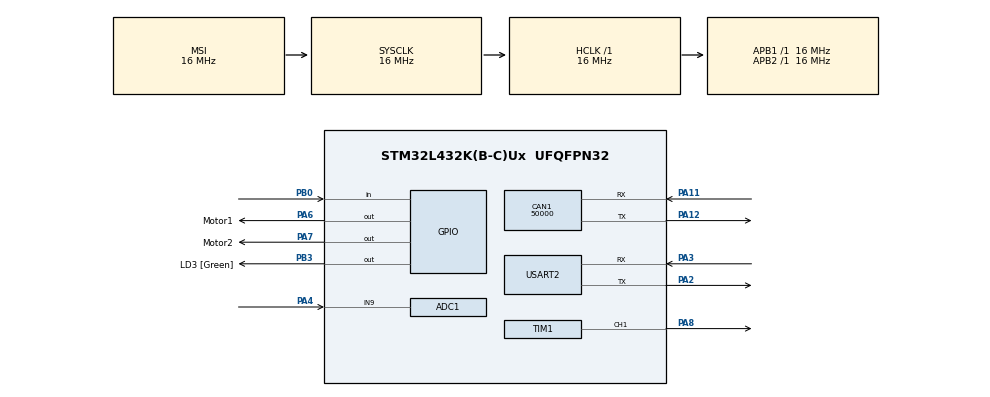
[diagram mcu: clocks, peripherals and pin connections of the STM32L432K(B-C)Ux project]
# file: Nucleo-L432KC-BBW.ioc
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ADC1.Channel-3\#ChannelRegularConversion=ADC_CHANNEL_9
ADC1.ClockPrescaler=ADC_CLOCK_ASYNC_DIV64
ADC1.ContinuousConvMode=ENABLE
ADC1.NbrOfConversion=1
ADC1.NbrOfConversionFlag=1
ADC1.OffsetNumber-3\#ChannelRegularConversion=ADC_OFFSET_NONE
ADC1.Rank-3\#ChannelRegularConversion=1
ADC1.SamplingTime-3\#ChannelRegularConversion=ADC_SAMPLETIME_12CYCLES_5
ADC1.master=1
CAN1.ABOM=ENABLE
CAN1.BS1=CAN_BS1_11TQ
CAN1.BS2=CAN_BS2_8TQ
CAN1.CalculateBaudRate=50000
CAN1.CalculateTimeBit=20000
CAN1.CalculateTimeQuantum=1000.0
Mcu.Family=STM32L4
Mcu.Name=STM32L432K(B-C)Ux
Mcu.Package=UFQFPN32
NVIC.ADC1_IRQn=true\:0\:0\:false\:false\:true\:true\:true\:true
NVIC.CAN1_RX0_IRQn=true\:0\:0\:false\:false\:true\:true\:true\:true
NVIC.CAN1_RX1_IRQn=true\:0\:0\:false\:false\:true\:true\:true\:true
NVIC.PriorityGroup=NVIC_PRIORITYGROUP_4
NVIC.TIM1_UP_TIM16_IRQn=true\:0\:0\:false\:false\:true\:true\:true\:true
NVIC.TIM6_DAC_IRQn=true\:0\:0\:false\:false\:true\:true\:true\:true
NVIC.TIM7_IRQn=true\:0\:0\:false\:false\:true\:true\:true\:true
PA0.GPIO_Label=MCO [High speed clock in]
PA0.Mode=HSE-External-Clock-Source-for-LittleOrca
PA0.Signal=RCC_CK_IN
PA11.Mode=CAN_Activate
PA11.Signal=CAN1_RX
PA12.Mode=CAN_Activate
PA12.Signal=CAN1_TX
PA13\ (JTMS-SWDIO).GPIO_Label=SWDIO
PA13\ (JTMS-SWDIO).Mode=Serial_Wire
PA13\ (JTMS-SWDIO).Signal=SYS_JTMS-SWDIO
PA14\ (JTCK-SWCLK).GPIO_Label=SWCLK
PA14\ (JTCK-SWCLK).Mode=Serial_Wire
PA14\ (JTCK-SWCLK).Signal=SYS_JTCK-SWCLK
PA2.Mode=Asynchronous
PA2.Signal=USART2_TX
PA3.Mode=Asynchronous
PA3.Signal=USART2_RX
PA4.Signal=SharedAnalog_PA4
PA6.GPIO_Label=Motor1
PA6.Signal=GPIO_Output
PA7.GPIO_Label=Motor2
PA7.Signal=GPIO_Output
PA8.Signal=S_TIM1_CH1
PB0.GPIO_PuPd=GPIO_PULLDOWN
PB0.Signal=GPIO_Input
PB3\ (JTDO-TRACESWO).GPIO_Label=LD3 [Green]
PB3\ (JTDO-TRACESWO).Signal=GPIO_Output
PC14-OSC32_IN\ (PC14).Mode=LSE-External-Oscillator
PC14-OSC32_IN\ (PC14).Signal=RCC_OSC32_IN
PC15-OSC32_OUT\ (PC15).Mode=LSE-External-Oscillator
PC15-OSC32_OUT\ (PC15).Signal=RCC_OSC32_OUT
ProjectManager.HeapSize=0x200
ProjectManager.StackSize=0x400
ProjectManager.TargetToolchain=STM32CubeIDE
RCC.ADCFreq_Value=64000000
RCC.AHBFreq_Value=16000000
RCC.APB1Freq_Value=16000000
RCC.APB1TimFreq_Value=16000000
RCC.APB2Freq_Value=16000000
RCC.APB2TimFreq_Value=16000000
RCC.CortexFreq_Value=16000000
RCC.HCLKFreq_Value=16000000
RCC.HSE_VALUE=8000000
RCC.HSI16_VALUE=16000000
RCC.HSI48_VALUE=48000000
RCC.HSI_VALUE=16000000
RCC.MSIClockRange=RCC_MSIRANGE_8
RCC.MSI_VALUE=16000000
RCC.PLLMUL=RCC_PLLMUL_4
RCC.SYSCLKFreq_VALUE=16000000
RCC.USBFreq_Value=64000000
RCC.VCOOutputFreq_Value=128000000
SH.S_TIM1_CH1.0=TIM1_CH1,PWM Generation1 CH1
SH.SharedAnalog_PA4.0=GPIO_Analog
SH.SharedAnalog_PA4.1=ADC1_IN9,IN9-Single-Ended
TIM1.Channel-PWM\ Generation1\ CH1=TIM_CHANNEL_1
TIM1.Period=999
TIM1.Prescaler=15
TIM16.Period=20000
TIM16.Prescaler=160-1
TIM6.Period=10000
TIM6.Prescaler=16-1
TIM7.Period=25000
TIM7.Prescaler=64-1
USART2.VirtualMode-Asynchronous=VM_ASYNC
VP_TIM16_VS_ClockSourceINT.Mode=Enable_Timer
VP_TIM1_VS_ClockSourceINT.Mode=Internal
VP_TIM6_VS_ClockSourceINT.Mode=Enable_Timer
VP_TIM7_VS_ClockSourceINT.Mode=Enable_Timer
board=NUCLEO-L432KC

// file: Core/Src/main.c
/* USER CODE BEGIN Header */
/**
  ******************************************************************************
  * @file           : main.c
  * @brief          : Main program body
  ******************************************************************************
  * @attention
  *
  * Copyright (c) 2022 STMicroelectronics.
  * All rights reserved.
  *
  * This software is licensed under terms that can be found in the LICENSE file
  * in the root directory of this software component.
  * If no LICENSE file comes with this software, it is provided AS-IS.
  *
  ******************************************************************************
  */
/* USER CODE END Header */
#include "main.h"

/* USER CODE BEGIN Includes */

#include "stdio.h"
#include <stdbool.h>

/* USER CODE END Includes */

/* USER CODE BEGIN PM */
void TightenBrake(int dutyCycle);
void LoosenBrake(int dutyCycle);
void StopBrake();
/* USER CODE END PM */

ADC_HandleTypeDef hadc1;

CAN_HandleTypeDef hcan1;

TIM_HandleTypeDef htim1;
TIM_HandleTypeDef htim6;
TIM_HandleTypeDef htim7;
TIM_HandleTypeDef htim16;

UART_HandleTypeDef huart2;

void SystemClock_Config(void);
static void MX_GPIO_Init(void);
static void MX_USART2_UART_Init(void);
static void MX_CAN1_Init(void);
static void MX_TIM6_Init(void);
static void MX_TIM1_Init(void);
static void MX_ADC1_Init(void);
static void MX_TIM7_Init(void);
static void MX_TIM16_Init(void);

/* USER CODE BEGIN 0 */

CAN_TxHeaderTypeDef TxHeader;
CAN_RxHeaderTypeDef RxHeader;

uint32_t TxMailbox;

uint8_t CAN_TxData[4];
uint8_t CAN_RxData[4];

// important: don't convert to int or it will get reset to 0 for unknown reason
double first_met = 1.0;

double pressure_desired = 0.0;

float linearVoltage = 0.0f;
float linearAvg = 0.0f;

// uart print to serial terminal for debugging purpose
int _write(int file, char *ptr, int len){
	HAL_UART_Transmit(&huart2, (uint8_t*)ptr, len, HAL_MAX_DELAY);
	return len;
}

void HAL_CAN_RxFifo0MsgPendingCallback(CAN_HandleTypeDef *hcan1)
{
  if (HAL_CAN_GetRxMessage(hcan1, CAN_RX_FIFO0, &RxHeader, CAN_RxData) != HAL_OK)
  {
    Error_Handler();
  }

  // 0x100 is the can device id of the main controller
  if ((RxHeader.StdId == 0x100))
  {
	  // first compute the brake percentage then the pressure needed
	  pressure_desired = CAN_RxData[1];
  }
}

void HAL_TIM_PeriodElapsedCallback(TIM_HandleTypeDef *htim) {
  // 5Hz = 200ms send out measured breaking pressure to can bus
  /*if (htim == &htim16){
	  CAN_TxData[0] = (int)(pressure_measured_avg);
	  HAL_CAN_AddTxMessage(&hcan1, &TxHeader, CAN_TxData, &TxMailbox);

	  printf("brake pressure measured: %.2f PSI \r\n", pressure_measured_avg);
	  printf("brake pressure desired: %.2f PSI \r\n", pressure_desired);
  }*/
}

double sum = 0.0;
const int length = 40;
double buffer[40] = {0};
int index = 0;
bool filled = false;

void HAL_ADC_ConvCpltCallback(ADC_HandleTypeDef* hadc)
{
	linearVoltage = HAL_ADC_GetValue(&hadc1) / 4095.0 * 3.3;

	double newSample = linearVoltage;

	// Remove oldest value
	sum -= buffer[index];
	// Add new value
	buffer[index] = newSample;
	sum += newSample;

	// Advance index
	index = (index + 1) % length;

	// Compute average
	int divisor = filled ? length : index;
	if (index == 0) filled = true;

	linearAvg = sum / (double)divisor;
}

int testPin = 1;
/* USER CODE END 0 */

int main(void)
{

  /* MCU Configuration--------------------------------------------------------*/

  /* Reset of all peripherals, Initializes the Flash interface and the Systick. */
  HAL_Init();

  /* Configure the system clock */
  SystemClock_Config();

  /* Initialize all configured peripherals */
  MX_GPIO_Init();
  MX_USART2_UART_Init();
  MX_CAN1_Init();
  MX_TIM6_Init();
  MX_TIM1_Init();
  MX_ADC1_Init();
  MX_TIM7_Init();
  MX_TIM16_Init();
  /* USER CODE BEGIN 2 */

  HAL_TIM_PWM_Start(&htim1, TIM_CHANNEL_1);
  HAL_Delay(500);

  HAL_ADCEx_Calibration_Start(&hadc1, ADC_SINGLE_ENDED);
  HAL_ADC_Start_IT(&hadc1);
  HAL_Delay(500);
  // IMPORTANT: DO NOT MOVE THIS COUNTER TO GLOBAL VARIABLE
  // OR IT WILL BE RESET EVERY FEW LOOPS FOR NO REASON

  float linearMax = 2.61f;
  float linearMin = .68f;

  /* USER CODE END 2 */

  /* Infinite loop */
  /* USER CODE BEGIN WHILE */
  while (1)
  {
	  /*HAL_ADC_Start(&hadc1);
	  HAL_ADC_PollForConversion(&hadc1, HAL_MAX_DELAY);
	  // reference adc reading [0-4095], reference voltage [0-3.3v]
	  linearVoltage = HAL_ADC_GetValue(&hadc1) / 4095.0 * 3.3;
	  HAL_ADC_Stop(&hadc1);*/

	  //read test pin for brake
	  if (HAL_GPIO_ReadPin(GPIOB, GPIO_PIN_0) == GPIO_PIN_SET)
	  {
	      // Button is pressed
		  testPin = 1;
	  }
	  else
	  {
		  // Button is not pressed
	      testPin = 0;
	   }

	  //run motors if test pin is high
	  //duty cycle (max is 1000) @ 2kHz
	  int dutyCycle = 1000;

		  if (testPin == 1 && linearAvg > linearMin)
		  {
		  	  //Tighten brake
		  	  TightenBrake(dutyCycle);
		  }
		  else if (testPin == 0 && linearAvg < linearMax)
		  {
			  LoosenBrake(dutyCycle);
		  }
		  else
		  {
			  StopBrake();
		  }

	  //calculate pressure
		  //pressureValue = (pressureAvg - pressureMin) / (pressureMax - pressureMin) * pressureAbsMax;
  }
    /* USER CODE END WHILE */

}

void SystemClock_Config(void)
{
  RCC_OscInitTypeDef RCC_OscInitStruct = {0};
  RCC_ClkInitTypeDef RCC_ClkInitStruct = {0};

  /** Configure the main internal regulator output voltage
  */
  if (HAL_PWREx_ControlVoltageScaling(PWR_REGULATOR_VOLTAGE_SCALE1) != HAL_OK)
  {
    Error_Handler();
  }

  /** Configure LSE Drive Capability
  */
  HAL_PWR_EnableBkUpAccess();
  __HAL_RCC_LSEDRIVE_CONFIG(RCC_LSEDRIVE_LOW);

  /** Initializes the RCC Oscillators according to the specified parameters
  * in the RCC_OscInitTypeDef structure.
  */
  RCC_OscInitStruct.OscillatorType = RCC_OSCILLATORTYPE_LSE|RCC_OSCILLATORTYPE_MSI;
  RCC_OscInitStruct.LSEState = RCC_LSE_ON;
  RCC_OscInitStruct.MSIState = RCC_MSI_ON;
  RCC_OscInitStruct.MSICalibrationValue = 0;
  RCC_OscInitStruct.MSIClockRange = RCC_MSIRANGE_8;
  RCC_OscInitStruct.PLL.PLLState = RCC_PLL_NONE;
  if (HAL_RCC_OscConfig(&RCC_OscInitStruct) != HAL_OK)
  {
    Error_Handler();
  }

  /** Initializes the CPU, AHB and APB buses clocks
  */
  RCC_ClkInitStruct.ClockType = RCC_CLOCKTYPE_HCLK|RCC_CLOCKTYPE_SYSCLK
                              |RCC_CLOCKTYPE_PCLK1|RCC_CLOCKTYPE_PCLK2;
  RCC_ClkInitStruct.SYSCLKSource = RCC_SYSCLKSOURCE_MSI;
  RCC_ClkInitStruct.AHBCLKDivider = RCC_SYSCLK_DIV1;
  RCC_ClkInitStruct.APB1CLKDivider = RCC_HCLK_DIV1;
  RCC_ClkInitStruct.APB2CLKDivider = RCC_HCLK_DIV1;

  if (HAL_RCC_ClockConfig(&RCC_ClkInitStruct, FLASH_LATENCY_0) != HAL_OK)
  {
    Error_Handler();
  }

  /** Enable MSI Auto calibration
  */
  HAL_RCCEx_EnableMSIPLLMode();
}

static void MX_ADC1_Init(void)
{

  ADC_ChannelConfTypeDef sConfig = {0};

  /** Common config
  */
  hadc1.Instance = ADC1;
  hadc1.Init.ClockPrescaler = ADC_CLOCK_ASYNC_DIV64;
  hadc1.Init.Resolution = ADC_RESOLUTION_12B;
  hadc1.Init.DataAlign = ADC_DATAALIGN_RIGHT;
  hadc1.Init.ScanConvMode = ADC_SCAN_DISABLE;
  hadc1.Init.EOCSelection = ADC_EOC_SINGLE_CONV;
  hadc1.Init.LowPowerAutoWait = DISABLE;
  hadc1.Init.ContinuousConvMode = ENABLE;
  hadc1.Init.NbrOfConversion = 1;
  hadc1.Init.DiscontinuousConvMode = DISABLE;
  hadc1.Init.ExternalTrigConv = ADC_SOFTWARE_START;
  hadc1.Init.ExternalTrigConvEdge = ADC_EXTERNALTRIGCONVEDGE_NONE;
  hadc1.Init.DMAContinuousRequests = DISABLE;
  hadc1.Init.Overrun = ADC_OVR_DATA_PRESERVED;
  hadc1.Init.OversamplingMode = DISABLE;
  if (HAL_ADC_Init(&hadc1) != HAL_OK)
  {
    Error_Handler();
  }

  /** Configure Regular Channel
  */
  sConfig.Channel = ADC_CHANNEL_9;
  sConfig.Rank = ADC_REGULAR_RANK_1;
  sConfig.SamplingTime = ADC_SAMPLETIME_12CYCLES_5;
  sConfig.SingleDiff = ADC_SINGLE_ENDED;
  sConfig.OffsetNumber = ADC_OFFSET_NONE;
  sConfig.Offset = 0;
  if (HAL_ADC_ConfigChannel(&hadc1, &sConfig) != HAL_OK)
  {
    Error_Handler();
  }
  /* USER CODE BEGIN ADC1_Init 2 */
//  HAL_ADC_Start(&hadc1);
  /* USER CODE END ADC1_Init 2 */

}

static void MX_CAN1_Init(void)
{

  /* USER CODE BEGIN CAN1_Init 0 */
  TxHeader.DLC = 4;
  TxHeader.ExtId = 0;
  TxHeader.IDE = CAN_ID_STD;
  TxHeader.RTR = CAN_RTR_DATA;
  TxHeader.StdId = 0x102;
  TxHeader.TransmitGlobalTime = DISABLE;

  /* USER CODE END CAN1_Init 0 */

  hcan1.Instance = CAN1;
  hcan1.Init.Prescaler = 16;
  hcan1.Init.Mode = CAN_MODE_NORMAL;
  hcan1.Init.SyncJumpWidth = CAN_SJW_1TQ;
  hcan1.Init.TimeSeg1 = CAN_BS1_11TQ;
  hcan1.Init.TimeSeg2 = CAN_BS2_8TQ;
  hcan1.Init.TimeTriggeredMode = DISABLE;
  hcan1.Init.AutoBusOff = ENABLE;
  hcan1.Init.AutoWakeUp = DISABLE;
  hcan1.Init.AutoRetransmission = DISABLE;
  hcan1.Init.ReceiveFifoLocked = DISABLE;
  hcan1.Init.TransmitFifoPriority = DISABLE;
  if (HAL_CAN_Init(&hcan1) != HAL_OK)
  {
    Error_Handler();
  }
  /* USER CODE BEGIN CAN1_Init 2 */

  CAN_FilterTypeDef canfilterconfig;

  canfilterconfig.FilterActivation = CAN_FILTER_ENABLE;
  canfilterconfig.FilterBank = 10;  // which filter bank to use from the assigned ones
  canfilterconfig.FilterFIFOAssignment = CAN_FILTER_FIFO0;
  canfilterconfig.FilterIdHigh = 0;
  canfilterconfig.FilterIdLow = 0x0000;
  canfilterconfig.FilterMaskIdHigh = 0;
  canfilterconfig.FilterMaskIdLow = 0x0000;
  canfilterconfig.FilterMode = CAN_FILTERMODE_IDMASK;
  canfilterconfig.FilterScale = CAN_FILTERSCALE_32BIT;
  canfilterconfig.SlaveStartFilterBank = 20;  // how many filters to assign to the CAN1 (master can)

  HAL_CAN_ConfigFilter(&hcan1, &canfilterconfig);
  HAL_CAN_Start(&hcan1);
  HAL_CAN_ActivateNotification(&hcan1, CAN_IT_RX_FIFO0_MSG_PENDING);

  /* USER CODE END CAN1_Init 2 */

}

static void MX_TIM1_Init(void)
{

  TIM_ClockConfigTypeDef sClockSourceConfig = {0};
  TIM_MasterConfigTypeDef sMasterConfig = {0};
  TIM_OC_InitTypeDef sConfigOC = {0};
  TIM_BreakDeadTimeConfigTypeDef sBreakDeadTimeConfig = {0};

  htim1.Instance = TIM1;
  htim1.Init.Prescaler = 15;
  htim1.Init.CounterMode = TIM_COUNTERMODE_UP;
  htim1.Init.Period = 999;
  htim1.Init.ClockDivision = TIM_CLOCKDIVISION_DIV1;
  htim1.Init.RepetitionCounter = 0;
  htim1.Init.AutoReloadPreload = TIM_AUTORELOAD_PRELOAD_DISABLE;
  if (HAL_TIM_Base_Init(&htim1) != HAL_OK)
  {
    Error_Handler();
  }
  sClockSourceConfig.ClockSource = TIM_CLOCKSOURCE_INTERNAL;
  if (HAL_TIM_ConfigClockSource(&htim1, &sClockSourceConfig) != HAL_OK)
  {
    Error_Handler();
  }
  if (HAL_TIM_PWM_Init(&htim1) != HAL_OK)
  {
    Error_Handler();
  }
  sMasterConfig.MasterOutputTrigger = TIM_TRGO_RESET;
  sMasterConfig.MasterOutputTrigger2 = TIM_TRGO2_RESET;
  sMasterConfig.MasterSlaveMode = TIM_MASTERSLAVEMODE_DISABLE;
  if (HAL_TIMEx_MasterConfigSynchronization(&htim1, &sMasterConfig) != HAL_OK)
  {
    Error_Handler();
  }
  sConfigOC.OCMode = TIM_OCMODE_PWM1;
  sConfigOC.Pulse = 0;
  sConfigOC.OCPolarity = TIM_OCPOLARITY_HIGH;
  sConfigOC.OCNPolarity = TIM_OCNPOLARITY_HIGH;
  sConfigOC.OCFastMode = TIM_OCFAST_DISABLE;
  sConfigOC.OCIdleState = TIM_OCIDLESTATE_RESET;
  sConfigOC.OCNIdleState = TIM_OCNIDLESTATE_RESET;
  if (HAL_TIM_PWM_ConfigChannel(&htim1, &sConfigOC, TIM_CHANNEL_1) != HAL_OK)
  {
    Error_Handler();
  }
  sBreakDeadTimeConfig.OffStateRunMode = TIM_OSSR_DISABLE;
  sBreakDeadTimeConfig.OffStateIDLEMode = TIM_OSSI_DISABLE;
  sBreakDeadTimeConfig.LockLevel = TIM_LOCKLEVEL_OFF;
  sBreakDeadTimeConfig.DeadTime = 0;
  sBreakDeadTimeConfig.BreakState = TIM_BREAK_DISABLE;
  sBreakDeadTimeConfig.BreakPolarity = TIM_BREAKPOLARITY_HIGH;
  sBreakDeadTimeConfig.BreakFilter = 0;
  sBreakDeadTimeConfig.Break2State = TIM_BREAK2_DISABLE;
  sBreakDeadTimeConfig.Break2Polarity = TIM_BREAK2POLARITY_HIGH;
  sBreakDeadTimeConfig.Break2Filter = 0;
  sBreakDeadTimeConfig.AutomaticOutput = TIM_AUTOMATICOUTPUT_DISABLE;
  if (HAL_TIMEx_ConfigBreakDeadTime(&htim1, &sBreakDeadTimeConfig) != HAL_OK)
  {
    Error_Handler();
  }
  /* USER CODE BEGIN TIM1_Init 2 */
  HAL_TIM_PWM_Start(&htim1, TIM_CHANNEL_1);

  /* USER CODE END TIM1_Init 2 */
  HAL_TIM_MspPostInit(&htim1);

}

static void MX_TIM6_Init(void)
{

  TIM_MasterConfigTypeDef sMasterConfig = {0};

  htim6.Instance = TIM6;
  htim6.Init.Prescaler = 16-1;
  htim6.Init.CounterMode = TIM_COUNTERMODE_UP;
  htim6.Init.Period = 10000;
  htim6.Init.AutoReloadPreload = TIM_AUTORELOAD_PRELOAD_DISABLE;
  if (HAL_TIM_Base_Init(&htim6) != HAL_OK)
  {
    Error_Handler();
  }
  sMasterConfig.MasterOutputTrigger = TIM_TRGO_RESET;
  sMasterConfig.MasterSlaveMode = TIM_MASTERSLAVEMODE_DISABLE;
  if (HAL_TIMEx_MasterConfigSynchronization(&htim6, &sMasterConfig) != HAL_OK)
  {
    Error_Handler();
  }
  /* USER CODE BEGIN TIM6_Init 2 */
  HAL_TIM_Base_Start_IT(&htim6);
  /* USER CODE END TIM6_Init 2 */

}

static void MX_TIM7_Init(void)
{

  TIM_MasterConfigTypeDef sMasterConfig = {0};

  htim7.Instance = TIM7;
  htim7.Init.Prescaler = 64-1;
  htim7.Init.CounterMode = TIM_COUNTERMODE_UP;
  htim7.Init.Period = 25000;
  htim7.Init.AutoReloadPreload = TIM_AUTORELOAD_PRELOAD_DISABLE;
  if (HAL_TIM_Base_Init(&htim7) != HAL_OK)
  {
    Error_Handler();
  }
  sMasterConfig.MasterOutputTrigger = TIM_TRGO_RESET;
  sMasterConfig.MasterSlaveMode = TIM_MASTERSLAVEMODE_DISABLE;
  if (HAL_TIMEx_MasterConfigSynchronization(&htim7, &sMasterConfig) != HAL_OK)
  {
    Error_Handler();
  }
  /* USER CODE BEGIN TIM7_Init 2 */
  HAL_TIM_Base_Start_IT(&htim7);
  /* USER CODE END TIM7_Init 2 */

}

static void MX_TIM16_Init(void)
{

  htim16.Instance = TIM16;
  htim16.Init.Prescaler = 160-1;
  htim16.Init.CounterMode = TIM_COUNTERMODE_UP;
  htim16.Init.Period = 20000;
  htim16.Init.ClockDivision = TIM_CLOCKDIVISION_DIV1;
  htim16.Init.RepetitionCounter = 0;
  htim16.Init.AutoReloadPreload = TIM_AUTORELOAD_PRELOAD_DISABLE;
  if (HAL_TIM_Base_Init(&htim16) != HAL_OK)
  {
    Error_Handler();
  }
  /* USER CODE BEGIN TIM16_Init 2 */
  HAL_TIM_Base_Start_IT(&htim16);
  /* USER CODE END TIM16_Init 2 */

}

static void MX_USART2_UART_Init(void)
{

  huart2.Instance = USART2;
  huart2.Init.BaudRate = 115200;
  huart2.Init.WordLength = UART_WORDLENGTH_8B;
  huart2.Init.StopBits = UART_STOPBITS_1;
  huart2.Init.Parity = UART_PARITY_NONE;
  huart2.Init.Mode = UART_MODE_TX_RX;
  huart2.Init.HwFlowCtl = UART_HWCONTROL_NONE;
  huart2.Init.OverSampling = UART_OVERSAMPLING_16;
  huart2.Init.OneBitSampling = UART_ONE_BIT_SAMPLE_DISABLE;
  huart2.AdvancedInit.AdvFeatureInit = UART_ADVFEATURE_NO_INIT;
  if (HAL_UART_Init(&huart2) != HAL_OK)
  {
    Error_Handler();
  }

}

static void MX_GPIO_Init(void)
{
  GPIO_InitTypeDef GPIO_InitStruct = {0};

  /* GPIO Ports Clock Enable */
  __HAL_RCC_GPIOC_CLK_ENABLE();
  __HAL_RCC_GPIOA_CLK_ENABLE();
  __HAL_RCC_GPIOB_CLK_ENABLE();

  /*Configure GPIO pin Output Level */
  HAL_GPIO_WritePin(GPIOA, Motor1_Pin|Motor2_Pin, GPIO_PIN_RESET);

  /*Configure GPIO pin Output Level */
  HAL_GPIO_WritePin(LD3_GPIO_Port, LD3_Pin, GPIO_PIN_RESET);

  /*Configure GPIO pins : Motor1_Pin Motor2_Pin */
  GPIO_InitStruct.Pin = Motor1_Pin|Motor2_Pin;
  GPIO_InitStruct.Mode = GPIO_MODE_OUTPUT_PP;
  GPIO_InitStruct.Pull = GPIO_NOPULL;
  GPIO_InitStruct.Speed = GPIO_SPEED_FREQ_LOW;
  HAL_GPIO_Init(GPIOA, &GPIO_InitStruct);

  /*Configure GPIO pin : PB0 */
  GPIO_InitStruct.Pin = GPIO_PIN_0;
  GPIO_InitStruct.Mode = GPIO_MODE_INPUT;
  GPIO_InitStruct.Pull = GPIO_PULLDOWN;
  HAL_GPIO_Init(GPIOB, &GPIO_InitStruct);

  /*Configure GPIO pin : LD3_Pin */
  GPIO_InitStruct.Pin = LD3_Pin;
  GPIO_InitStruct.Mode = GPIO_MODE_OUTPUT_PP;
  GPIO_InitStruct.Pull = GPIO_NOPULL;
  GPIO_InitStruct.Speed = GPIO_SPEED_FREQ_LOW;
  HAL_GPIO_Init(LD3_GPIO_Port, &GPIO_InitStruct);

}

/* USER CODE BEGIN 4 */
void TightenBrake(int dutyCycle)
{
	__HAL_TIM_SET_COMPARE(&htim1, TIM_CHANNEL_1, dutyCycle);
	HAL_GPIO_WritePin(GPIOA, Motor1_Pin, GPIO_PIN_RESET);
	HAL_GPIO_WritePin(GPIOA, Motor2_Pin, GPIO_PIN_SET);
}
void LoosenBrake(int dutyCycle)
{
	__HAL_TIM_SET_COMPARE(&htim1, TIM_CHANNEL_1, dutyCycle);
	HAL_GPIO_WritePin(GPIOA, Motor1_Pin, GPIO_PIN_SET);
	HAL_GPIO_WritePin(GPIOA, Motor2_Pin, GPIO_PIN_RESET);
}
void StopBrake()
{
	__HAL_TIM_SET_COMPARE(&htim1, TIM_CHANNEL_1, 0);
	HAL_GPIO_WritePin(GPIOA, Motor1_Pin, GPIO_PIN_RESET);
	HAL_GPIO_WritePin(GPIOA, Motor2_Pin, GPIO_PIN_RESET);
}
/* USER CODE END 4 */

void Error_Handler(void)
{
  __disable_irq();
  while (1)
  {
  }
}
